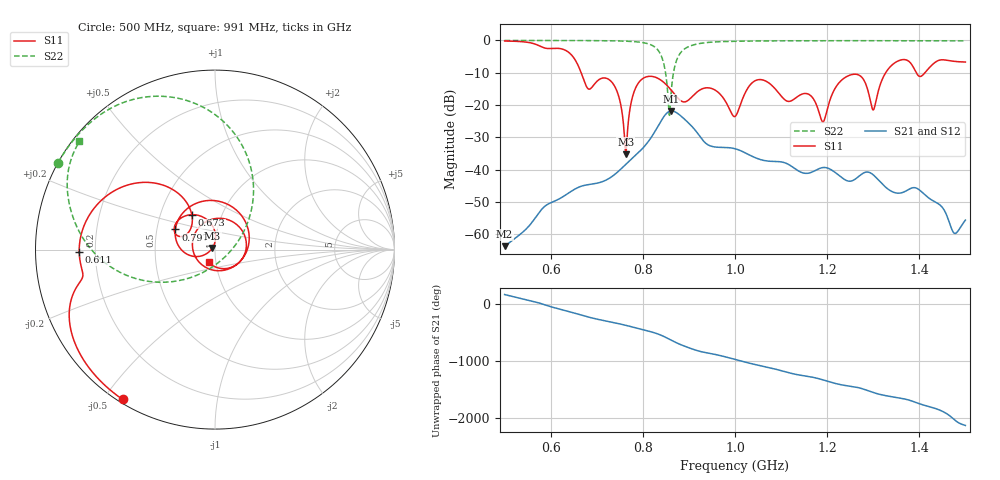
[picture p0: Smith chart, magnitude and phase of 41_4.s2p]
! TOUCHSTONE file generated by CST MICROWAVE STUDIO
! Date and time: Sat Nov 14 20:03:56 2020
! Project name: Scenario_1_Planar_Body_Tissue_Out_of_Line.cst
! Parameters = {dy1=-346; L_HA=400; Ltissue=700; MT=2.54; Rad_Dielectric=30; Rad_Lower=7.3; Rad_Upper=30; Wtissue=700; a_HA=580; a_WG=246; b_HA=500; b_WG=121; c_HA=0; c_WG=187; d_feed=85; dx1=693; h_feed=15; h_lower=18; h_upper=40; hfat=3; hgap=25; hmuscle=50; hskin=1.5}
! Header version: 2018
! Port assignment regex: !\s*Touchstone port\s*([0-9]+)\s*=\s*(CST MWS port|CST DS port)\s*([0-9]+|Zmin|Zmax)\s*\(\"(.*)\"\)(\s*mode\s*([0-9]+))?.*
! Touchstone port assignment:
! Touchstone port 1 = CST MWS port 1 ("")
! Touchstone port 2 = CST MWS port 2 ("")
# GHz S DB R 50
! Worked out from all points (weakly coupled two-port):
!   1003 points, 500 MHz to 1.5 GHz, reference 50 ohm
!   highest |S21| = -21.83 dB at 862 MHz (marker M1); lowest = -63.7 dB at 500 MHz (marker M2)
!   lowest |S11| = -35.2 dB at 763 MHz (marker M3), VSWR 1.04, Z = 48.6 + j0.924 ohm
!   |S11| at or under -10 dB: 666.1 MHz to 1.327 GHz (660.9 MHz wide, 66.3 % of centre); 1.393 GHz to 1.412 GHz (18.83 MHz wide, 1.34 % of centre)
!   |S22| runs from -23.2 to 0.0 dB; largest |S21 - S12| = 5.7e-05
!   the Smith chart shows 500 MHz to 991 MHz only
!   S11 on the Smith chart (normalised r, x): 500 MHz: 0.01, -0.56; 611 MHz: 0.14, -0.01; 673 MHz: 0.72, +0.29; 797 MHz: 0.62, +0.15; 991 MHz: 0.92, -0.13
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0.5  -0.17 -121.7  -63.74 163.3  -63.73 163.3  -0.01 151.2
0.611  -2.42 -178.9  -49.61 -74.1  -49.61 -74.1  -0.02 143.3
0.667  -10.36 121.1  -45.13 161.9  -45.14 161.9  -0.04 138.4
0.673  -12.72 123.9  -44.90 148.2  -44.90 148.2  -0.05 137.8
0.735  -13.33 117.0  -41.95 34.8  -41.95 34.8  -0.12 130.1
0.763  -35.22 146.7  -38.38 -15.9  -38.38 -15.9  -0.23 124.8
0.797  -12.12 153.0  -33.82 -85.2  -33.82 -85.2  -0.61 114.2
0.834  -11.84 67.3  -26.31 -171.3  -26.31 -171.3  -3.23 83.7
0.862  -15.47 -10.9  -21.83 81.9  -21.83 81.9  -15.16 -125.2
0.888  -19.03 -116.3  -24.08 -13.4  -24.08 -13.4  -2.91 177.4
0.946  -14.76 25.6  -32.65 -148.0  -32.65 -148.0  -0.56 150.0
0.991  -22.16 -117.3  -33.29 127.1  -33.29 127.1  -0.30 141.4
1  -23.55 -175.4  -33.55 107.2  -33.55 107.2  -0.27 140.2
1.049  -12.21 -8.6  -36.61 7.9  -36.61 7.9  -0.16 134.5
1.102  -17.52 -156.9  -37.67 -93.5  -37.67 -93.5  -0.12 129.5
1.167  -17.49 -20.0  -40.79 157.0  -40.79 157.0  -0.10 124.2
1.191  -25.26 -146.9  -39.38 108.6  -39.38 108.6  -0.09 122.3
1.263  -10.48 10.9  -42.75 -18.7  -42.75 -18.7  -0.08 116.9
1.3  -21.54 11.2  -41.63 -112.4  -41.63 -112.4  -0.09 114.1
1.334  -8.61 29.2  -46.26 -177.7  -46.26 -177.7  -0.09 111.5
1.381  -7.00 -30.6  -45.86 106.3  -45.87 106.3  -0.09 107.9
1.5  -6.69 -47.3  -55.66 30.5  -55.66 30.5  -0.13 97.9
